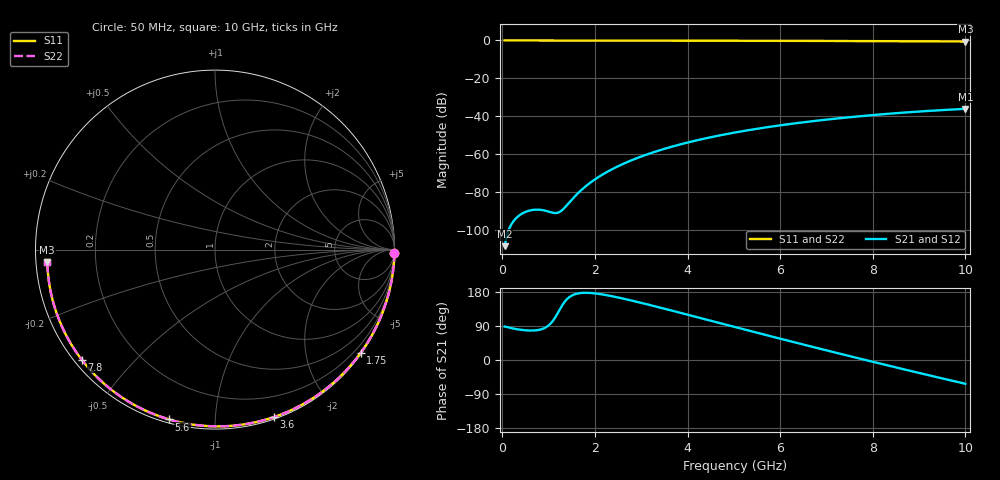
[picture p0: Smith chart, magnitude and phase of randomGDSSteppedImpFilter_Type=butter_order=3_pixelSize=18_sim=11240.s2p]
! freq	dB(S11)	phase(S11)	dB(S12)	phase(S12)
!  dB(S21)	phase(S21)	dB(S22)	phase(S22)
!S-par simulation data
#  GHz  S  DB  R 50
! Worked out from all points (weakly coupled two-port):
!   200 points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, 50 MHz to 10 GHz, reference 50 ohm
!   highest |S21| = -36.16 dB at 10 GHz (marker M1); lowest = -108.8 dB at 50 MHz (marker M2)
!   lowest |S11| = -0.6 dB at 10 GHz (marker M3), VSWR 30.67, Z = 1.63 - j1.84 ohm
!   |S11| at or under -10 dB: nowhere
!   |S22| runs from -0.6 to 0.0 dB; largest |S21 - S12| = 0
!   S11 on the Smith chart (normalised r, x): 50 MHz: open; 1.75 GHz: 0.03, -3.13; 3.6 GHz: 0.02, -1.41; 5.6 GHz: 0.02, -0.77; 7.8 GHz: 0.02, -0.36; 10 GHz: 0.03, -0.04
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0.05  -0.00 -1.0  -108.76 88.4  -108.76 88.4  -0.00 -1.0
0.45  -0.01 -9.3  -91.22 79.0  -91.22 79.0  -0.01 -9.3
0.85  -0.02 -17.4  -89.62 81.4  -89.62 81.4  -0.02 -17.4
1.65  -0.04 -33.4  -80.37 176.0  -80.37 176.0  -0.04 -33.4
1.75  -0.05 -35.4  -78.14 177.3  -78.14 177.3  -0.05 -35.4
1.9  -0.05 -38.4  -75.20 176.9  -75.20 176.9  -0.05 -38.3
2.05  -0.05 -41.3  -72.64 175.0  -72.64 175.0  -0.05 -41.3
2.25  -0.06 -45.2  -69.67 171.1  -69.67 171.1  -0.06 -45.1
2.45  -0.06 -49.0  -67.09 166.3  -67.09 166.3  -0.06 -49.0
2.9  -0.07 -57.6  -62.28 153.7  -62.28 153.7  -0.07 -57.5
3.4  -0.09 -66.9  -58.04 138.5  -58.04 138.5  -0.09 -66.8
3.6  -0.09 -70.5  -56.58 132.3  -56.58 132.3  -0.09 -70.5
4.3  -0.12 -83.0  -52.24 110.1  -52.24 110.1  -0.12 -82.9
5.05  -0.15 -95.9  -48.55 86.2  -48.55 86.2  -0.15 -95.9
5.6  -0.17 -105.2  -46.31 68.8  -46.31 68.8  -0.17 -105.1
6.15  -0.20 -114.2  -44.38 51.6  -44.38 51.6  -0.20 -114.1
6.7  -0.24 -123.0  -42.68 34.6  -42.68 34.6  -0.24 -122.9
7.25  -0.28 -131.8  -41.20 17.8  -41.20 17.8  -0.28 -131.7
7.8  -0.33 -140.5  -39.89 1.2  -39.89 1.2  -0.32 -140.3
8.35  -0.38 -149.1  -38.74 -15.1  -38.74 -15.1  -0.38 -149.0
9.2  -0.47 -162.7  -37.26 -40.0  -37.26 -40.0  -0.47 -162.5
10  -0.57 -175.8  -36.16 -62.8  -36.16 -62.8  -0.57 -175.6
